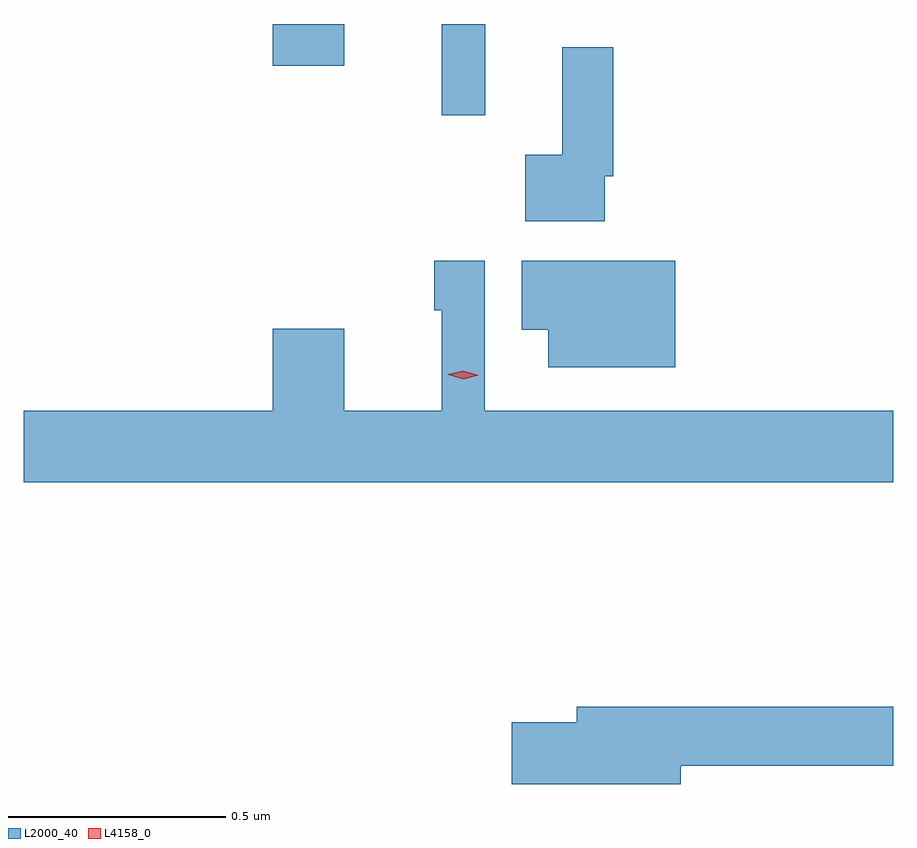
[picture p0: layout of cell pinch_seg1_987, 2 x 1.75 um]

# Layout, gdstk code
import gdstk
lib = gdstk.Library(unit=1e-6, precision=1e-09)
def R(c, l, rs):  # rectangles x0, y0, x1, y1
    for r in rs: c.add(gdstk.rectangle(r[:2], r[2:], *l))
def P(c, l, *ps):  # polygons
    for p in ps: c.add(gdstk.Polygon(p, *l))
L2000_40 = (2000, 40)
L4158_0 = (4158, 0)

pinch_seg1_987 = lib.new_cell('pinch_seg1_987')
R(pinch_seg1_987, L2000_40, [(225.337,508.62,225.437,508.83), (224.948,508.734,225.112,508.83)])
P(pinch_seg1_987, L2000_40, [(225.711,508.48),(225.731,508.48),(225.731,508.777),(225.614,508.777),(225.614,508.529),(225.528,508.529),(225.528,508.376),(225.711,508.376)],
  [(226.375,507.94),(225.435,507.94),(225.435,508.285),(225.319,508.285),(225.319,508.172),(225.337,508.172),(225.337,507.94),(225.112,507.94),(225.112,508.129),(224.948,508.129),(224.948,507.94),(224.375,507.94),(224.375,507.776),(226.375,507.776)],
  [(225.874,508.285),(225.52,508.285),(225.52,508.127),(225.581,508.127),(225.581,508.04),(225.874,508.04)],
  [(225.886,507.124),(226.375,507.124),(226.375,507.26),(225.647,507.26),(225.647,507.224),(225.498,507.224),(225.498,507.082),(225.886,507.082)])
P(pinch_seg1_987, L4158_0, [(225.386,508.013),(225.351,508.023),(225.351,508.023),(225.351,508.024),(225.386,508.033),(225.421,508.022),(225.421,508.022),(225.421,508.022)])

lib.write_gds('pinch_seg1_987.gds')
